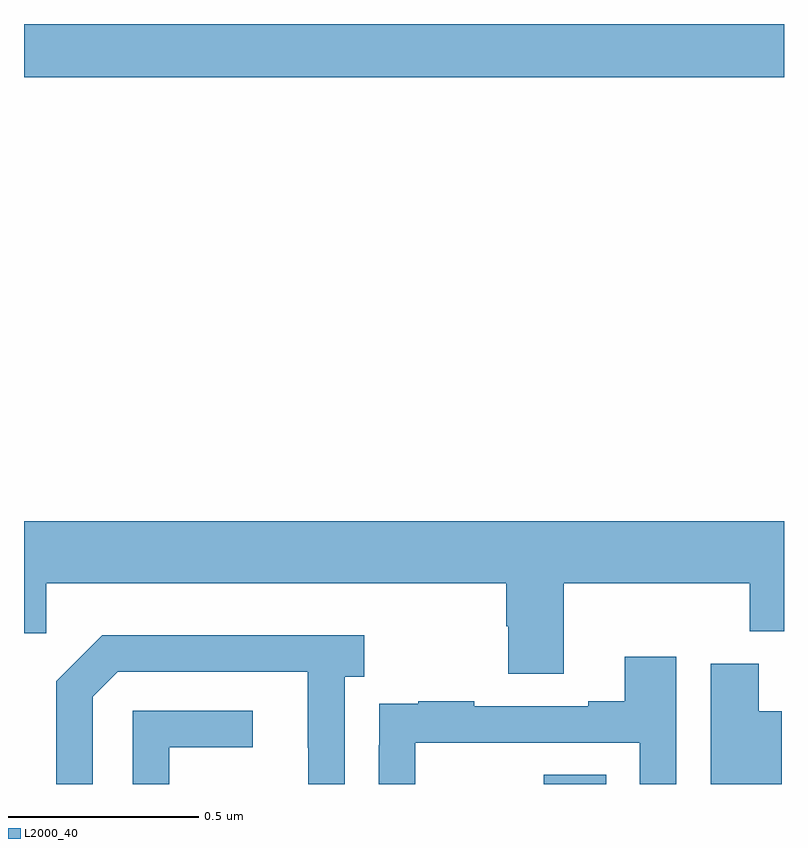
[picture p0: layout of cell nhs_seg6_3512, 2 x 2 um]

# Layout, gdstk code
import gdstk
lib = gdstk.Library(unit=1e-6, precision=1e-09)
def R(c, l, rs):  # rectangles x0, y0, x1, y1
    for r in rs: c.add(gdstk.rectangle(r[:2], r[2:], *l))
def P(c, l, *ps):  # polygons
    for p in ps: c.add(gdstk.Polygon(p, *l))
L2000_40 = (2000, 40)

nhs_seg6_3512 = lib.new_cell('nhs_seg6_3512')
R(nhs_seg6_3512, L2000_40, [(159.368,921.5,159.532,921.524), (158,923.36,160,923.5)])
P(nhs_seg6_3512, L2000_40, [(159.421,922.028),(159.91,922.028),(159.91,921.902),(160,921.902),(160,922.192),(158,922.192),(158,921.897),(158.058,921.897),(158.058,922.028),(159.269,922.028),(159.269,921.915),(159.274,921.915),(159.274,921.79),(159.421,921.79)],
  [(158.181,921.729),(158.247,921.795),(158.747,921.795),(158.747,921.595),(158.748,921.595),(158.748,921.5),(158.844,921.5),(158.844,921.782),(158.896,921.782),(158.896,921.892),(158.206,921.892),(158.085,921.771),(158.085,921.5),(158.181,921.5)],
  [(159.03,921.609),(159.621,921.609),(159.621,921.5),(159.717,921.5),(159.717,921.835),(159.581,921.835),(159.581,921.718),(159.485,921.718),(159.485,921.705),(159.185,921.705),(159.185,921.718),(159.037,921.718),(159.037,921.711),(158.935,921.711),(158.935,921.602),(158.934,921.602),(158.934,921.5),(159.03,921.5)],
  [(159.994,921.691),(159.934,921.691),(159.934,921.817),(159.807,921.817),(159.807,921.5),(159.994,921.5)],
  [(158.382,921.597),(158.602,921.597),(158.602,921.693),(158.286,921.693),(158.286,921.5),(158.382,921.5)])

lib.write_gds('nhs_seg6_3512.gds')
